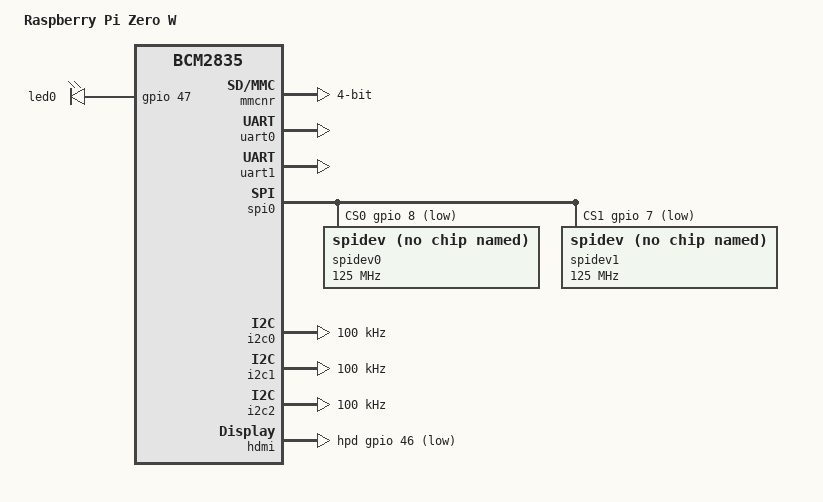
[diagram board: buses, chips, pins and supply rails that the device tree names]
/dts-v1/;

#include "bcm2708.dtsi"
#include "bcm2708-rpi.dtsi"
#include "bcm283x-rpi-csi1-2lane.dtsi"

/ {
	compatible = "raspberrypi,model-zero-w", "brcm,bcm2835";
	model = "Raspberry Pi Zero W";

	chosen {
		bootargs = "coherent_pool=1M 8250.nr_uarts=1";
	};

	aliases {
		serial0 = &uart1;
		serial1 = &uart0;
		mmc1 = &mmcnr;
	};
};

&gpio {
	spi0_pins: spi0_pins {
		brcm,pins = <9 10 11>;
		brcm,function = <4>; /* alt0 */
	};

	spi0_cs_pins: spi0_cs_pins {
		brcm,pins = <8 7>;
		brcm,function = <1>; /* output */
	};

	i2c0_pins: i2c0 {
		brcm,pins = <0 1>;
		brcm,function = <4>;
	};

	i2c1_pins: i2c1 {
		brcm,pins = <2 3>;
		brcm,function = <4>;
	};

	i2s_pins: i2s {
		brcm,pins = <18 19 20 21>;
		brcm,function = <4>; /* alt0 */
	};

	sdio_pins: sdio_pins {
		brcm,pins = <34 35 36 37 38 39>;
		brcm,function = <7>; /* ALT3 = SD1 */
		brcm,pull = <0 2 2 2 2 2>;
	};

	bt_pins: bt_pins {
		brcm,pins = <43>;
		brcm,function = <4>; /* alt0:GPCLK2 */
		brcm,pull = <0>; /* none */
	};

	uart0_pins: uart0_pins {
		brcm,pins = <30 31 32 33>;
		brcm,function = <7>; /* alt3=UART0 */
		brcm,pull = <2 0 0 2>; /* up none none up */
	};

	uart1_pins: uart1_pins {
		brcm,pins;
		brcm,function;
		brcm,pull;
	};

	audio_pins: audio_pins {
		brcm,pins = <>;
		brcm,function = <>;
	};
};

&mmcnr {
	pinctrl-names = "default";
	pinctrl-0 = <&sdio_pins>;
	bus-width = <4>;
	status = "okay";
};

&uart0 {
	pinctrl-names = "default";
	pinctrl-0 = <&uart0_pins &bt_pins>;
	status = "okay";
};

&uart1 {
	pinctrl-names = "default";
	pinctrl-0 = <&uart1_pins>;
	status = "okay";
};

&spi0 {
	pinctrl-names = "default";
	pinctrl-0 = <&spi0_pins &spi0_cs_pins>;
	cs-gpios = <&gpio 8 1>, <&gpio 7 1>;

	spidev0: spidev@0{
		compatible = "spidev";
		reg = <0>;	/* CE0 */
		#address-cells = <1>;
		#size-cells = <0>;
		spi-max-frequency = <125000000>;
	};

	spidev1: spidev@1{
		compatible = "spidev";
		reg = <1>;	/* CE1 */
		#address-cells = <1>;
		#size-cells = <0>;
		spi-max-frequency = <125000000>;
	};
};

&i2c0 {
	pinctrl-names = "default";
	pinctrl-0 = <&i2c0_pins>;
	clock-frequency = <100000>;
};

&i2c1 {
	pinctrl-names = "default";
	pinctrl-0 = <&i2c1_pins>;
	clock-frequency = <100000>;
};

&i2c2 {
	clock-frequency = <100000>;
};

&i2s {
	pinctrl-names = "default";
	pinctrl-0 = <&i2s_pins>;
};

&leds {
	act_led: act {
		label = "led0";
		linux,default-trigger = "mmc0";
		gpios = <&gpio 47 0>;
	};
};

&hdmi {
	hpd-gpios = <&gpio 46 GPIO_ACTIVE_LOW>;
};

&audio {
	pinctrl-names = "default";
	pinctrl-0 = <&audio_pins>;
};

/ {
	__overrides__ {
		act_led_gpio = <&act_led>,"gpios:4";
		act_led_activelow = <&act_led>,"gpios:8";
		act_led_trigger = <&act_led>,"linux,default-trigger";
	};
};
